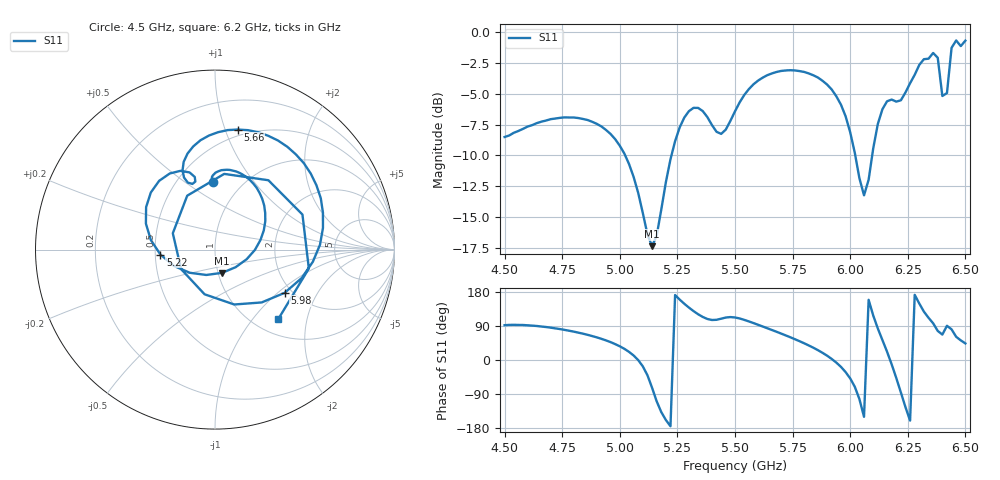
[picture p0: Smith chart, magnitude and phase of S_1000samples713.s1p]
! TOUCHSTONE file generated by CST MICROWAVE STUDIO
! Date and time: Sat Oct 29 03:05:57 2022
! Project name: L.cst
! Parameters = {Di=1.27; Epsilon_r=1.56; InnerDiameter=1.27; Length=2; Lf=10; Lg=60; OuterConductorThickness=0.2921; OuterDiameter=3.6; Wf=3; Wp=41.2; de=1.5; df=6.8; g=0.8; gx=0.661367; gy=1.07365; h=2.34; hf=1.524; px=12.3933; py=12.5498; w=9.7; wx=11.7319; wy=11.4762}
! Header version: 2018
! Port assignment regex: !\s*Touchstone port\s*([0-9]+)\s*=\s*(CST MWS port|CST DS port)\s*([0-9]+|Zmin|Zmax)\s*\(\"(.*)\"\)(\s*mode\s*([0-9]+))?.*
! Touchstone port assignment:
! Touchstone port 1 = CST MWS port 1 ("")
# GHz S DB R 50
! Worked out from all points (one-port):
!   101 points, 4.5 GHz to 6.5 GHz, reference 50 ohm
!   lowest |S11| = -17.4 dB at 5.14 GHz (marker M1), VSWR 1.31, Z = 52.2 - j13.8 ohm
!   |S11| at or under -10 dB: 5.023 GHz to 5.224 GHz (200.6 MHz wide, 3.92 % of centre); 6.022 GHz to 6.095 GHz (73.39 MHz wide, 1.21 % of centre)
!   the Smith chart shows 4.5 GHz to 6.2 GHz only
!   S11 on the Smith chart (normalised r, x): 4.5 GHz: 0.74, +0.64; 5.22 GHz: 0.53, -0.03; 5.66 GHz: 0.44, +1.11; 5.98 GHz: 1.83, -1.11; 6.2 GHz: 1.28, -1.36
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4.5  -8.50 91.9
4.76  -6.91 79.5
5  -9.21 36.1
5.14  -17.36 -73.1
5.22  -10.30 -174.8
5.26  -7.72 159.4
5.34  -6.14 120.7
5.5  -6.41 112.2
5.66  -3.34 79.2
5.76  -3.09 54.8
5.9  -4.25 11.3
5.98  -6.81 -31.9
6  -8.12 -48.5
6.04  -11.85 -103.1
6.08  -11.97 158.8
6.12  -7.43 83.1
6.16  -5.60 21.8
6.2  -5.63 -47.5
6.22  -5.52 -85.8
6.26  -4.13 -159.9
6.3  -2.64 148.9
6.36  -1.68 96.9
6.38  -2.06 76.7
6.4  -5.17 67.1
6.42  -4.93 90.3
6.44  -1.26 80.9
6.46  -0.66 61.2
6.5  -0.68 43.7
